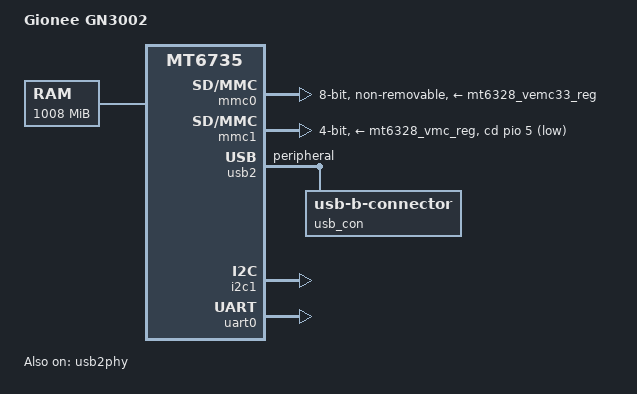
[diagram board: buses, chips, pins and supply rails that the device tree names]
// SPDX-License-Identifier: BSD-3-Clause
/*
 * Gionee GN3002 (F306) - MediaTek MT6735
 *
 * 5" 720x1280 IPS, 3GB LPDDR3, 32GB eMMC, MT6328 PMIC.
 * Boot chain: preloader -> LK (bootopt=64S3,32N2,64N2) -> arm64 Image + DTB.
 *
 * 状态：骨架。标 TODO 的数值必须从设备上实测，不能猜。
 */

/dts-v1/;

#include "mt6735.dtsi"
#include "mt6328.dtsi"
#include <dt-bindings/gpio/gpio.h>
#include <dt-bindings/input/input.h>
#include <dt-bindings/pinctrl/mediatek,mt6735-pinctrl.h>

/ {
	model = "Gionee GN3002";
	compatible = "gionee,gn3002", "mediatek,mt6735";

	chosen {
		#address-cells = <2>;
		#size-cells = <2>;
		ranges;

		bootargs = "console=tty0 ignore_loglevel clk_ignore_unused pd_ignore_unused regulator_ignore_unused";
		stdout-path = "framebuffer";

		/*
		 * 帧缓冲由 LK 初始化：原厂 DTB 的 MTKFB 节点给出
		 *   reg = <0x7e000000 0x1000000>   (物理基址 0x7e000000, 16MB)
		 * 实测 /sys/class/graphics/fb0：stride=2944, virtual_size=736,3840, 32bpp
		 * 面板 lcm=1-tm_ft8606 (天马 + FT8606 触摸)
		 */
		framebuffer: framebuffer@7e000000 {
			compatible = "simple-framebuffer";
			reg = <0 0x7e000000 0 0x1000000>;
			width = <720>;
			height = <1280>;
			stride = <2944>;
			format = "a8r8g8b8";
		};
	};

	/*
	 * 跟随社区已验证做法（Doogee X5 Pro / mt6735-mainline）：只声明低 1GB 减 16MB。
	 * 3GB 机器的高段内存（0xA0000000 起）等跑起来后再用 /proc/iomem 核实放开。
	 */
	memory@40000000 {
		device_type = "memory";
		reg = <0 0x40000000 0 0x3f000000>;
	};

	reserved-memory {
		#address-cells = <2>;
		#size-cells = <2>;
		ranges;

		/* 盲调时唯一的现场：pstore/ramoops。地址须避开 kernel(0x40080000+16M)
		 * 和 ramdisk(0x44000000)，这里放在两者之间的空隙。 */
		ramoops@43f10000 {
			compatible = "ramoops";
			reg = <0 0x43f10000 0 0xe0000>;
			no-map;
			record-size = <0x80000>;
			console-size = <0x10000>;
			ftrace-size = <0x20000>;
			pmsg-size = <0x10000>;
		};

		fb_mem: memory@7e000000 {
			reg = <0 0x7e000000 0 0x1000000>;
			no-map;
		};
	};

	/* TODO: 音量键。可能是 KP 矩阵，也可能走 GPIO，需 getevent 确认。 */
	gpio-keys {
		compatible = "gpio-keys";
		status = "disabled";

		key-volume-up {
			label = "Volume Up";
			linux,code = <KEY_VOLUMEUP>;
			gpios = <&pio 84 GPIO_ACTIVE_LOW>;
		};

		key-volume-down {
			label = "Volume Down";
			linux,code = <KEY_VOLUMEDOWN>;
			gpios = <&pio 85 GPIO_ACTIVE_LOW>;
		};
	};
};

/*
 * 首启先用单核：MT6735 上从核启动依赖 TZ/PSCI，社区反馈部分机器会挂
 * （mt6735-mainline 也是先删掉 cpu1-3）。等单核跑通再逐个放开。
 */
/delete-node/ &cpu1;
/delete-node/ &cpu2;
/delete-node/ &cpu3;

/*
 * MT6735 的 PSCI 是社区实锤的坏实现（见 mt6735-mainline/mt6735-smp-fix：
 * CPU_ON 后不会自动上电电源域）。原厂内核用私有 "mt-boot" 绕开了它。
 * 内核若保留 psci 节点，idle/探测会走 smc —— 单核首启阶段直接删掉，
 * idle 回落到 WFI；等集成 mt6735-smp-fix 后再恢复四核。
 */
/ {
	/delete-node/ psci;
};

&cpu0 {
	/* cpu-release-addr = 0：内核不会尝试用它拉起 CPU（mt6735-smp-fix README 推荐） */
	enable-method = "spin-table";
	cpu-release-addr = <0 0>;
};

&pwrap {
	status = "okay";
};

/* 电源键在 PMIC 内部，MT6328 keys */
&mt6328_keys {
	status = "okay";
};

&mmc0 {
	status = "okay";

	vmmc-supply = <&mt6328_vemc33_reg>;
	vqmmc-supply = <&mt6328_vio18_reg>;

	bus-width = <8>;
	max-frequency = <200000000>;
	cap-mmc-highspeed;
	mmc-ddr-1_8v;
	mmc-hs200-1_8v;
	non-removable;

	mediatek,hs200-cmd-int-delay = <11>;
	mediatek,latch-ck = <1>;
};

&mmc1 {
	status = "okay";

	vmmc-supply = <&mt6328_vmc_reg>;
	vqmmc-supply = <&mt6328_vmch_reg>;

	bus-width = <4>;
	max-frequency = <200000000>;
	cap-sd-highspeed;
	sd-uhs-sdr12;
	sd-uhs-sdr25;
	sd-uhs-sdr50;
	sd-uhs-sdr104;
	sd-uhs-ddr50;

	/* 原厂 DTB: MSDC1_INS = EINT5 */
	cd-gpios = <&pio 5 GPIO_ACTIVE_LOW>;
};

&usb2 {
	status = "okay";
	dr_mode = "peripheral";

	usb_con: connector {
		compatible = "usb-b-connector";
		type = "micro";
	};
};

&usb2phy {
	status = "okay";
};

/*
 * 触摸：原厂 DTB 里 TOUCH_PANEL = EINT10，控制器是 FocalTech FT5x26/FT8606
 * 或 Solomon SSD6600（按面板批次二选一）。
 * TODO: i2c 总线号 / 地址 / reset GPIO 需实测确认。
 */
&i2c1 {
	status = "okay";

	touchscreen@38 {
		compatible = "edt,edt-ft5206";
		reg = <0x38>;
		pinctrl-names = "default";
		pinctrl-0 = <&touchscreen_default>;
		vcc-supply = <&mt6328_vgp1_reg>;
		reset-gpios = <&pio 62 GPIO_ACTIVE_LOW>;
		interrupt-parent = <&pio>;
		interrupts = <10 IRQ_TYPE_EDGE_FALLING>;
		touchscreen-size-x = <720>;
		touchscreen-size-y = <1280>;
		status = "disabled";
	};
};

&pio {
	touchscreen_default: touchscreen-default-pins {
		pins-reset {
			pinmux = <PINMUX_GPIO62__FUNC_GPIO62>;
		};
		pins-eint {
			pinmux = <PINMUX_GPIO10__FUNC_GPIO10>;
		};
	};
};

&uart0 {
	status = "okay";
};
